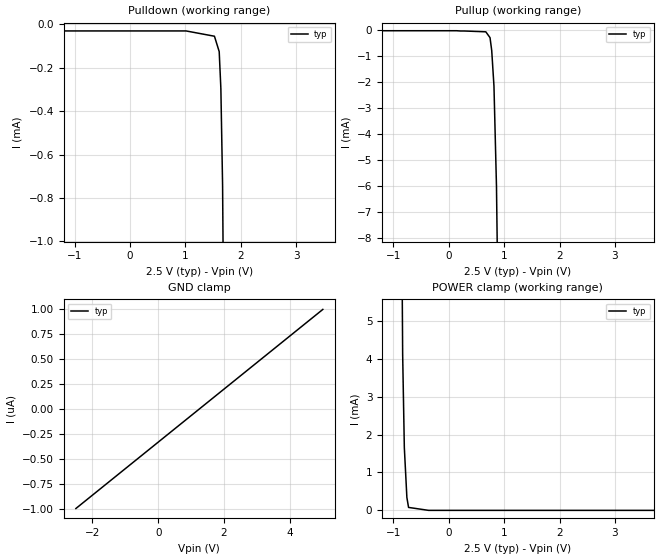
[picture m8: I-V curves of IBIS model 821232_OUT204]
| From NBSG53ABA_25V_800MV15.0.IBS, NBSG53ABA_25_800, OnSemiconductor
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| COPYRIGHT(C) MENTOR GRAPHICS CORPORATION 2002 ALL
| RIGHTS RESERVED. THIS WORK CONTAINS PROPRIETARY
| INFORMATION WHICH IS THE PROPERTY OF MENTOR GRAPHICS
| CORPORATION OR ITS LICENSORS. USE OF THESE MATERIALS
| IS SUBJECT TO THE TERMS BELOW.
| USE: YOU MAY USE IBIS MODELS SOLELY FOR DEVELOPING
| PRINTED CIRCUIT BOARD DESIGNS. NO OTHER USE OR
| DISTRIBUTION OF THESE MATERIALS IS PERMITTED.
| Model Application Version 1.89 2/18/99.
[Model] 821232_OUT204
Model_type Output_ECL
Vref=500.0mV
Rref=50.00ohms
Cref=0.000F
Vmeas=1.175V
C_comp 2.000pF NA NA
| variable typ   min   max
[Voltage Range] 2.500V NA NA
[POWER Clamp Reference] 2.500V NA NA
[Pullup Reference] 2.500V NA NA
[Pulldown Reference] 2.500V NA NA
[GND Clamp Reference] 0.000V NA NA
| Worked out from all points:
|   POWER clamp passes 1 mA (typ) near -0.78 V on its own axis
[GND Clamp]
-2.5V     -1uA       NA         NA
5V        1uA        NA         NA
[Pulldown]
-2.5V     -30.01uA   NA         NA
1.01V     -30.01uA   NA         NA
1.522V    -54.41uA   NA         NA
1.608V    -125.2uA   NA         NA
1.638V    -295.5uA   NA         NA
1.669V    -740uA     NA         NA
5V        -109.1mA   NA         NA
[Pullup]
-2.5V     -35.71uA   NA         NA
143.9mV   -35.71uA   NA         NA
212.3mV   -45.84uA   NA         NA
280.7mV   -45.84uA   NA         NA
670.9mV   -76.94uA   NA         NA
746.9mV   -302.2uA   NA         NA
777.4mV   -795.5uA   NA         NA
817.9mV   -2.16mA    NA         NA
863.3mV   -6.014mA   NA         NA
5V        -693.8mA   NA         NA
[POWER Clamp]
-2.5V     368.2mA    NA         NA
-829mV    4.113mA    NA         NA
-798.9mV  1.661mA    NA         NA
-753.1mV  341.6uA    NA         NA
-722.6mV  77.41uA    NA         NA
-361.3mV  0A         NA         NA
5V        0A         NA         NA
[Ramp]
| variable typ min max
dV/dt_r 906.7m/51.83p NA NA
dV/dt_f 906.7m/47.59p NA NA
R_load = 50.00Ohms
